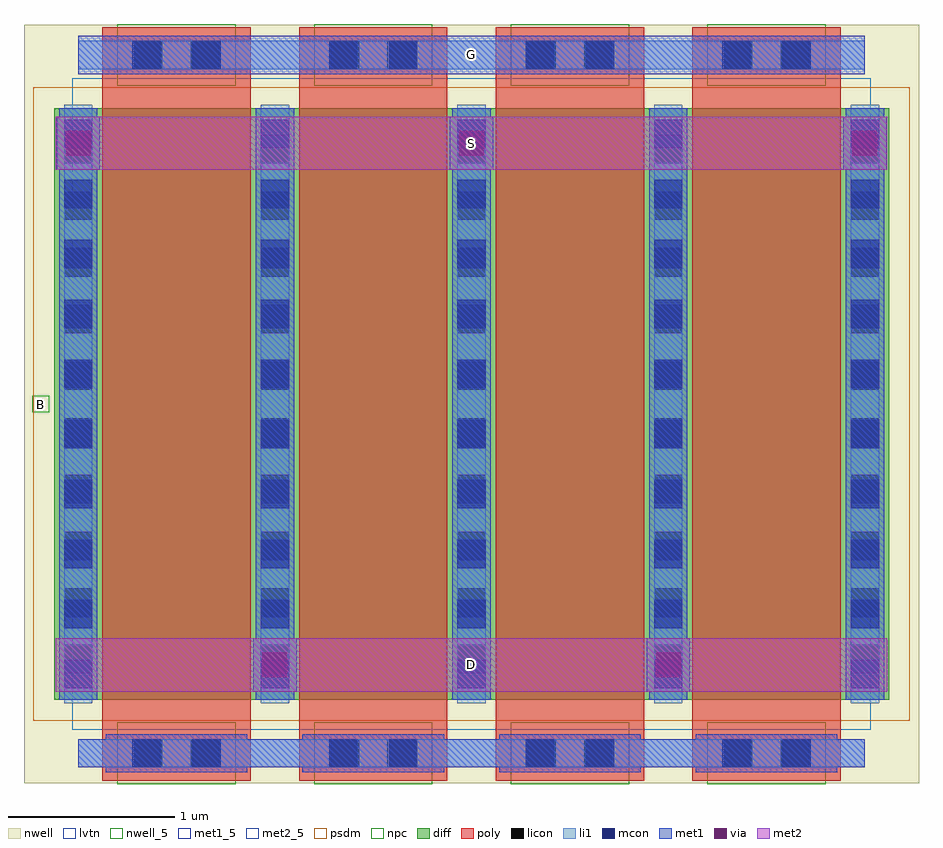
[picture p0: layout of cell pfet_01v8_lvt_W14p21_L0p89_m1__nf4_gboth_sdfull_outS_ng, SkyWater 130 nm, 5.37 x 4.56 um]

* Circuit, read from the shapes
.subckt pfet_01v8_lvt_W14p21_L0p89_m1__nf4_gboth_sdfull_outS_ng B D G S
XM1 D G S B sky130_fd_pr__pfet_01v8_lvt w=3.55 l=0.89 m=4
.ends

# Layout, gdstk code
import gdstk
lib = gdstk.Library(unit=1e-6, precision=1e-09)
def R(c, l, rs):  # rectangles x0, y0, x1, y1
    for r in rs: c.add(gdstk.rectangle(r[:2], r[2:], *l))
def A(c, l, x, y, w, h, nx, ny, dx, dy):  # array of equal rectangles
    R(c, l, [(x+i*dx, y+j*dy, x+i*dx+w, y+j*dy+h) for i in range(nx) for j in range(ny)])
nwell_5 = (64, 5)
nwell = (64, 20)
diff = (65, 20)
poly = (66, 20)
licon = (66, 44)
li1 = (67, 20)
mcon = (67, 44)
met1_5 = (68, 5)
met1 = (68, 20)
via = (68, 44)
met2_5 = (69, 5)
met2 = (69, 20)
psdm = (94, 20)
npc = (95, 20)
lvtn = (125, 44)

sky130_fd_pr__pfet_01v8_ = lib.new_cell('sky130_fd_pr__pfet_01v8_lvt_M5CXCT')
R(sky130_fd_pr__pfet_01v8_, nwell, [(-2.685,-2.275,2.685,2.275)])
R(sky130_fd_pr__pfet_01v8_, diff, [(-2.505,-1.775,2.505,1.775)])
A(sky130_fd_pr__pfet_01v8_, poly, -2.215, -2.26, 0.89, 4.52, 4, 1, 1.18, 0)
A(sky130_fd_pr__pfet_01v8_, licon, -2.445, -1.615, 0.17, 0.17, 5, 10, 1.18, 0.34)
R(sky130_fd_pr__pfet_01v8_, licon, [(-2.025,-2.18,-1.855,-2.01), (-1.685,-2.18,-1.515,-2.01), (-0.845,-2.18,-0.675,-2.01), (-0.505,-2.18,-0.335,-2.01), (0.335,-2.18,0.505,-2.01), (0.675,-2.18,0.845,-2.01), (1.515,-2.18,1.685,-2.01), (1.855,-2.18,2.025,-2.01), (-2.025,2.01,-1.855,2.18), (-1.685,2.01,-1.515,2.18), (-0.845,2.01,-0.675,2.18), (-0.505,2.01,-0.335,2.18), (0.335,2.01,0.505,2.18), (0.675,2.01,0.845,2.18), (1.515,2.01,1.685,2.18), (1.855,2.01,2.025,2.18)])
A(sky130_fd_pr__pfet_01v8_, li1, -2.445, -1.795, 0.17, 3.59, 5, 1, 1.18, 0)
R(sky130_fd_pr__pfet_01v8_, li1, [(-2.36,-2.18,2.36,-2.01), (-2.36,2.01,2.36,2.18)])
A(sky130_fd_pr__pfet_01v8_, mcon, -2.445, -1.705, 0.17, 0.17, 5, 10, 1.18, 0.36)
R(sky130_fd_pr__pfet_01v8_, mcon, [(-2.035,-2.18,-1.865,-2.01), (-1.675,-2.18,-1.505,-2.01), (-0.855,-2.18,-0.685,-2.01), (-0.495,-2.18,-0.325,-2.01), (0.325,-2.18,0.495,-2.01), (0.685,-2.18,0.855,-2.01), (1.505,-2.18,1.675,-2.01), (1.865,-2.18,2.035,-2.01), (-2.035,2.01,-1.865,2.18), (-1.675,2.01,-1.505,2.18), (-0.855,2.01,-0.685,2.18), (-0.495,2.01,-0.325,2.18), (0.325,2.01,0.495,2.18), (0.685,2.01,0.855,2.18), (1.505,2.01,1.675,2.18), (1.865,2.01,2.035,2.18)])
A(sky130_fd_pr__pfet_01v8_, met1, -2.195, -2.21, 0.85, 0.03, 4, 2, 1.18, 0.2)
A(sky130_fd_pr__pfet_01v8_, met1, -2.475, -1.775, 0.23, 3.55, 5, 1, 1.18, 0)
A(sky130_fd_pr__pfet_01v8_, met1, -2.195, 1.98, 0.85, 0.03, 4, 2, 1.18, 0.2)
R(sky130_fd_pr__pfet_01v8_, met1, [(-2.36,-2.18,2.36,-2.01), (-2.36,2.01,2.36,2.18)])
R(sky130_fd_pr__pfet_01v8_, psdm, [(-2.63,-1.9,2.63,1.9)])
A(sky130_fd_pr__pfet_01v8_, npc, -2.125, -2.28, 0.71, 0.37, 4, 2, 1.18, 4.19)
R(sky130_fd_pr__pfet_01v8_, lvtn, [(-2.395,-1.955,2.395,1.955)])
sky130_fd_pr__pfet_01v8_.add(gdstk.Label('D0', (-2.36,0), layer=67, texttype=5))
sky130_fd_pr__pfet_01v8_.add(gdstk.Label('G', (1.77,2.095), layer=67, texttype=5))
sky130_fd_pr__pfet_01v8_.add(gdstk.Label('G', (0.59,2.095), layer=67, texttype=5))
sky130_fd_pr__pfet_01v8_.add(gdstk.Label('G', (-0.59,2.095), layer=67, texttype=5))
sky130_fd_pr__pfet_01v8_.add(gdstk.Label('G', (-1.77,2.095), layer=67, texttype=5))
sky130_fd_pr__pfet_01v8_.add(gdstk.Label('S1', (-1.18,0), layer=67, texttype=5))
sky130_fd_pr__pfet_01v8_.add(gdstk.Label('D2', (0,0), layer=67, texttype=5))
sky130_fd_pr__pfet_01v8_.add(gdstk.Label('S3', (1.18,0), layer=67, texttype=5))

pfet_01v8_lvt_w14p21_l0p = lib.new_cell('pfet_01v8_lvt_W14p21_L0p89_m1__nf4_gboth_sdfull_outS_ng')
R(pfet_01v8_lvt_w14p21_l0p, nwell_5, [(0.05,2.225,0.15,2.325)])
R(pfet_01v8_lvt_w14p21_l0p, nwell, [(0.05,2.225,0.15,2.325)])
R(pfet_01v8_lvt_w14p21_l0p, met1_5, [(0.325,4.255,5.045,4.485)])
A(pfet_01v8_lvt_w14p21_l0p, met1, 0.195, 3.68, 0.26, 0.32, 3, 1, 2.36, 0)
R(pfet_01v8_lvt_w14p21_l0p, met1, [(1.375,0.55,1.635,0.87), (3.735,0.55,3.995,0.87), (0.325,4.255,5.045,4.485)])
A(pfet_01v8_lvt_w14p21_l0p, via, 0.25, 3.765, 0.15, 0.15, 3, 1, 2.36, 0)
R(pfet_01v8_lvt_w14p21_l0p, via, [(1.43,0.635,1.58,0.785), (3.79,0.635,3.94,0.785)])
R(pfet_01v8_lvt_w14p21_l0p, met2_5, [(0.19,0.55,5.18,0.87), (0.19,3.68,5.18,4)])
R(pfet_01v8_lvt_w14p21_l0p, met2, [(0.19,0.55,5.18,0.87), (0.19,3.68,5.18,4)])
pfet_01v8_lvt_w14p21_l0p.add(gdstk.Reference(sky130_fd_pr__pfet_01v8_, (2.685,2.275)))
pfet_01v8_lvt_w14p21_l0p.add(gdstk.Label('S', (2.685,3.84), layer=69, texttype=5))
pfet_01v8_lvt_w14p21_l0p.add(gdstk.Label('D', (2.685,0.71), layer=69, texttype=5))
pfet_01v8_lvt_w14p21_l0p.add(gdstk.Label('G', (2.685,4.37), layer=68, texttype=5))
pfet_01v8_lvt_w14p21_l0p.add(gdstk.Label('B', (0.1,2.275), layer=64, texttype=5))

lib.write_gds('pfet_01v8_lvt_W14p21_L0p89_m1__nf4_gboth_sdfull_outS_ng.gds')
